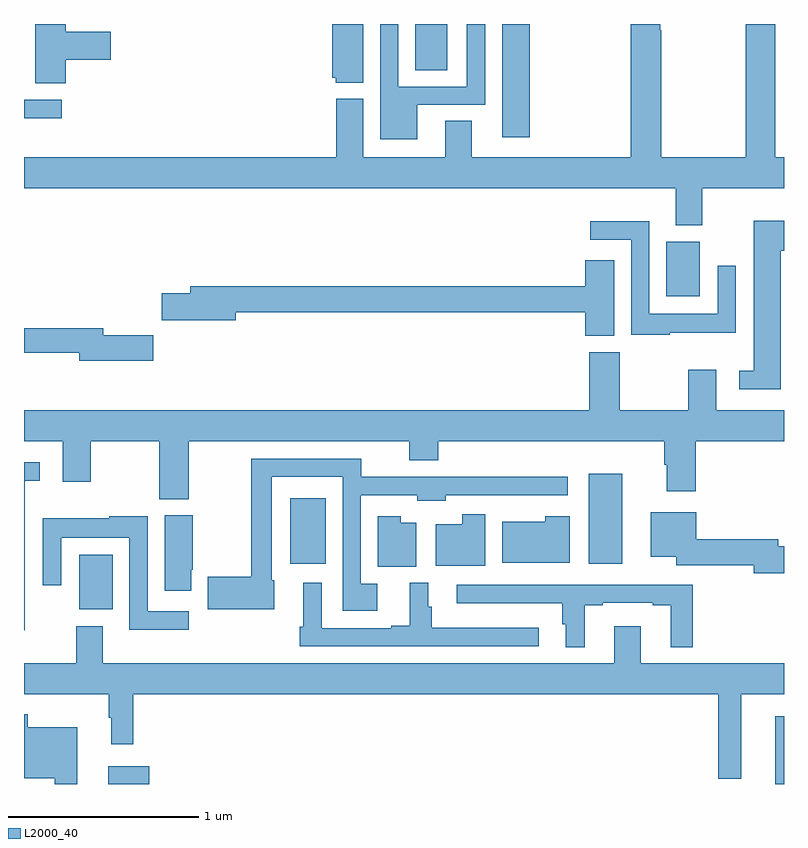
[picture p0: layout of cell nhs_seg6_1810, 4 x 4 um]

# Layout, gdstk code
import gdstk
lib = gdstk.Library(unit=1e-6, precision=1e-09)
def R(c, l, rs):  # rectangles x0, y0, x1, y1
    for r in rs: c.add(gdstk.rectangle(r[:2], r[2:], *l))
def P(c, l, *ps):  # polygons
    for p in ps: c.add(gdstk.Polygon(p, *l))
L2000_40 = (2000, 40)

nhs_seg6_1810 = lib.new_cell('nhs_seg6_1810')
R(nhs_seg6_1810, L2000_40, [(219.443,977.5,219.658,977.593), (222.953,977.5,223,977.857), (219.29,978.419,219.466,978.706), (220.4,978.659,220.588,979.003), (221.972,978.659,222.148,979.132), (222.38,980.066,222.556,980.353), (221.516,980.904,221.663,981.5), (219,981.005,219.199,981.102), (221.06,981.256,221.227,981.5)])
P(nhs_seg6_1810, L2000_40, [(220.786,981.5),(220.622,981.5),(220.622,981.216),(220.641,981.216),(220.641,981.191),(220.786,981.191)],
  [(219.221,981.311),(219.457,981.311),(219.457,981.458),(219.221,981.458),(219.221,981.5),(219.059,981.5),(219.059,981.187),(219.221,981.187)],
  [(221.071,981.075),(221.427,981.075),(221.427,981.5),(221.331,981.5),(221.331,981.171),(220.971,981.171),(220.971,981.5),(220.875,981.5),(220.875,980.894),(221.071,980.894)],
  [(222.571,980.636),(223,980.636),(223,980.8),(222.954,980.8),(222.954,981.5),(222.799,981.5),(222.799,980.8),(222.354,980.8),(222.354,981.467),(222.349,981.467),(222.349,981.5),(222.194,981.5),(222.194,980.8),(221.356,980.8),(221.356,980.99),(221.216,980.99),(221.216,980.8),(220.786,980.8),(220.786,981.106),(220.643,981.106),(220.643,980.8),(219,980.8),(219,980.636),(222.431,980.636),(222.431,980.442),(222.571,980.442)],
  [(222.982,980.306),(223,980.306),(223,980.464),(222.842,980.464),(222.842,979.676),(222.765,979.676),(222.765,979.578),(222.982,979.578)],
  [(222.398,979.874),(222.747,979.874),(222.747,980.227),(222.651,980.227),(222.651,979.975),(222.291,979.975),(222.291,980.461),(221.979,980.461),(221.979,980.364),(222.195,980.364),(222.195,979.864),(222.398,979.864)],
  [(222.106,980.257),(221.954,980.257),(221.954,980.12),(219.875,980.12),(219.875,980.084),(219.726,980.084),(219.726,979.942),(220.114,979.942),(220.114,979.984),(221.954,979.984),(221.954,979.858),(222.106,979.858)],
  [(219.679,979.862),(219.418,979.862),(219.418,979.898),(219,979.898),(219,979.77),(219.29,979.77),(219.29,979.727),(219.679,979.727)],
  [(222.536,979.304),(223,979.304),(223,979.468),(222.643,979.468),(222.643,979.681),(222.496,979.681),(222.496,979.468),(222.135,979.468),(222.135,979.773),(221.975,979.773),(221.975,979.468),(219,979.468),(219,979.304),(219.203,979.304),(219.203,979.092),(219.351,979.092),(219.351,979.304),(219.712,979.304),(219.712,979),(219.867,979),(219.867,979.304),(221.027,979.304),(221.027,979.205),(221.18,979.205),(221.18,979.304),(222.371,979.304),(222.371,979.181),(222.383,979.181),(222.383,979.041),(222.536,979.041)],
  [(220.858,978.553),(220.773,978.553),(220.773,979.02),(221.07,979.02),(221.07,978.992),(221.22,978.992),(221.22,979.02),(221.524,979.02),(221.524,979.019),(221.863,979.019),(221.863,979.118),(220.776,979.118),(220.776,979.212),(220.197,979.212),(220.197,978.59),(219.966,978.59),(219.966,978.419),(220.318,978.419),(220.318,978.573),(220.305,978.573),(220.305,979.116),(220.677,979.116),(220.677,978.413),(220.858,978.413)],
  [(219.004,979.097),(219.082,979.097),(219.082,979.194),(219,979.194),(219,978.308),(219.004,978.308)],
  [(223,978.752),(222.97,978.752),(222.97,978.788),(222.538,978.788),(222.538,978.931),(222.299,978.931),(222.299,978.695),(222.432,978.695),(222.432,978.652),(222.842,978.652),(222.842,978.61),(223,978.61)],
  [(221.428,978.919),(221.306,978.919),(221.306,978.868),(221.168,978.868),(221.168,978.65),(221.428,978.65)],
  [(219.88,978.628),(219.888,978.628),(219.888,978.915),(219.74,978.915),(219.74,978.516),(219.88,978.516)],
  [(221.065,978.874),(220.984,978.874),(220.984,978.91),(220.862,978.91),(220.862,978.644),(221.065,978.644)],
  [(221.872,978.91),(221.743,978.91),(221.743,978.88),(221.516,978.88),(221.516,978.665),(221.872,978.665)],
  [(219.868,978.408),(219.651,978.408),(219.651,978.908),(219.448,978.908),(219.448,978.898),(219.099,978.898),(219.099,978.546),(219.195,978.546),(219.195,978.797),(219.555,978.797),(219.555,978.311),(219.868,978.311)],
  [(221.71,978.322),(221.147,978.322),(221.147,978.432),(221.128,978.432),(221.128,978.559),(221.03,978.559),(221.03,978.334),(220.934,978.334),(220.934,978.321),(220.566,978.321),(220.566,978.559),(220.469,978.559),(220.469,978.328),(220.45,978.328),(220.45,978.225),(221.71,978.225)],
  [(221.95,978.441),(222.046,978.441),(222.046,978.453),(222.308,978.453),(222.308,978.441),(222.404,978.441),(222.404,978.221),(222.521,978.221),(222.521,978.55),(222.229,978.55),(222.229,978.549),(221.277,978.549),(221.277,978.452),(221.833,978.452),(221.833,978.342),(221.852,978.342),(221.852,978.221),(221.95,978.221)],
  [(222.775,977.972),(223,977.972),(223,978.136),(222.247,978.136),(222.247,978.331),(222.107,978.331),(222.107,978.136),(219.415,978.136),(219.415,978.331),(219.275,978.331),(219.275,978.136),(219,978.136),(219,977.972),(219.447,977.972),(219.447,977.849),(219.458,977.849),(219.458,977.709),(219.575,977.709),(219.575,977.972),(222.654,977.972),(222.654,977.528),(222.775,977.528)],
  [(219.28,977.8),(219.019,977.8),(219.019,977.866),(219,977.866),(219,977.531),(219.163,977.531),(219.163,977.5),(219.28,977.5)])

lib.write_gds('nhs_seg6_1810.gds')
